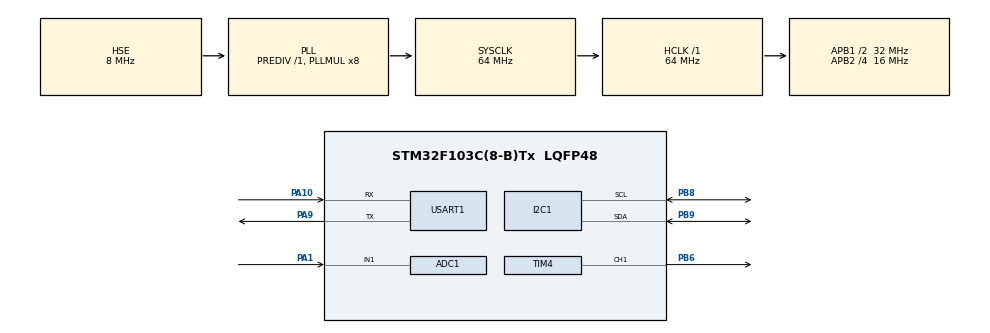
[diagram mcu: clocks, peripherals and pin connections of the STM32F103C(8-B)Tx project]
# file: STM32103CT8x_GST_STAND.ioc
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ADC1.Channel-1\#ChannelRegularConversion=ADC_CHANNEL_1
ADC1.ContinuousConvMode=ENABLE
ADC1.NbrOfConversionFlag=1
ADC1.Rank-1\#ChannelRegularConversion=1
ADC1.SamplingTime-1\#ChannelRegularConversion=ADC_SAMPLETIME_239CYCLES_5
ADC1.master=1
Dma.ADC1.0.Direction=DMA_PERIPH_TO_MEMORY
Dma.ADC1.0.Instance=DMA1_Channel1
Dma.ADC1.0.MemDataAlignment=DMA_MDATAALIGN_HALFWORD
Dma.ADC1.0.MemInc=DMA_MINC_ENABLE
Dma.ADC1.0.Mode=DMA_NORMAL
Dma.ADC1.0.PeriphDataAlignment=DMA_PDATAALIGN_HALFWORD
Dma.ADC1.0.PeriphInc=DMA_PINC_DISABLE
Dma.ADC1.0.Priority=DMA_PRIORITY_LOW
Dma.Request0=ADC1
Mcu.Family=STM32F1
Mcu.Name=STM32F103C(8-B)Tx
Mcu.Package=LQFP48
NVIC.DMA1_Channel1_IRQn=true\:0\:0\:false\:false\:true\:false\:true
NVIC.PriorityGroup=NVIC_PRIORITYGROUP_4
NVIC.TIM1_UP_IRQn=true\:0\:0\:false\:false\:true\:true\:true
NVIC.TIM4_IRQn=true\:0\:0\:false\:false\:true\:true\:true
NVIC.USART1_IRQn=true\:0\:0\:false\:false\:true\:true\:true
PA1.Signal=ADCx_IN1
PA10.Mode=Asynchronous
PA10.Signal=USART1_RX
PA13.Mode=Serial_Wire
PA13.Signal=SYS_JTMS-SWDIO
PA14.Mode=Serial_Wire
PA14.Signal=SYS_JTCK-SWCLK
PA9.Mode=Asynchronous
PA9.Signal=USART1_TX
PB6.Signal=S_TIM4_CH1
PB8.Mode=I2C
PB8.Signal=I2C1_SCL
PB9.Mode=I2C
PB9.Signal=I2C1_SDA
PD0-OSC_IN.Mode=HSE-External-Oscillator
PD0-OSC_IN.Signal=RCC_OSC_IN
PD1-OSC_OUT.Mode=HSE-External-Oscillator
PD1-OSC_OUT.Signal=RCC_OSC_OUT
ProjectManager.HeapSize=0x200
ProjectManager.StackSize=0x400
ProjectManager.TargetToolchain=TrueSTUDIO
RCC.AHBFreq_Value=64000000
RCC.APB1CLKDivider=RCC_HCLK_DIV2
RCC.APB1Freq_Value=32000000
RCC.APB1TimFreq_Value=64000000
RCC.APB2CLKDivider=RCC_HCLK_DIV4
RCC.APB2Freq_Value=16000000
RCC.APB2TimFreq_Value=32000000
RCC.HCLKFreq_Value=64000000
RCC.PLLMUL=RCC_PLL_MUL8
RCC.PLLSourceVirtual=RCC_PLLSOURCE_HSE
RCC.SYSCLKFreq_VALUE=64000000
RCC.SYSCLKSource=RCC_SYSCLKSOURCE_PLLCLK
RCC.USBFreq_Value=64000000
SH.ADCx_IN1.0=ADC1_IN1,IN1
SH.S_TIM4_CH1.0=TIM4_CH1,PWM Generation1 CH1
TIM1.Period=32000
TIM1.Prescaler=320
TIM4.Channel-PWM\ Generation1\ CH1=TIM_CHANNEL_1
TIM4.Period=20000
TIM4.Prescaler=64
TIM4.Pulse-PWM\ Generation1\ CH1=1000
USART1.VirtualMode=VM_ASYNC
VP_TIM1_VS_ClockSourceINT.Mode=Internal
VP_TIM4_VS_ClockSourceINT.Mode=Internal
board=custom

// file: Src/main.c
/* USER CODE BEGIN Header */
/**
  ******************************************************************************
  * @file           : main.c
  * @brief          : Main program body
  ******************************************************************************
  * @attention
  *
  * <h2><center>&copy; Copyright (c) 2020 STMicroelectronics.
  * All rights reserved.</center></h2>
  *
  * This software component is licensed by ST under BSD 3-Clause license,
  * the "License"; You may not use this file except in compliance with the
  * License. You may obtain a copy of the License at:
  *                        opensource.org/licenses/BSD-3-Clause
  *
  ******************************************************************************
  */
/* USER CODE END Header */

#include "main.h"
#include "adc.h"
#include "dma.h"
#include "i2c.h"
#include "tim.h"
#include "usart.h"
#include "gpio.h"

/* USER CODE BEGIN Includes */
#include "string.h"
#include "stdlib.h"
#include "math.h"
#include "gst_math.h"
#include "sd_hal_mpu6050.h"
#include "gst_pid.h"
#include "dwt_delay.h"
#include "USB_comunication.h"
/* USER CODE END Includes */

/* USER CODE BEGIN PD */
#define X_AXIS 1    /*! Axis x for spatial data */
#define Y_AXIS 2    /*! Axis y for spatial data */
#define Z_AXIS 3    /*! Axis z for spatial data */
/* USER CODE END PD */

/* USER CODE BEGIN PV */
/*! MPU6050 data structure */
SD_MPU6050 mpu1;
/*! MPU6050 communication result */
SD_MPU6050_Result result;
/*! MPU6050 temperature */
float mpu_temperature;
/*! Raw gyroscope data */
int16_t g_x, g_y, g_z;
/*! Raw accelerometer data */
int16_t a_x, a_y, a_z;
/*! potentiometer data */
uint16_t ADC1_DATA[1] = {0};
/*! linear regression coefficients*/
/*! deg = b*res+ a, RTD - resistance to degree*/
//y=b*x+a
float RTD_b=71.831;
float RTD_a=-109.200;

//float RTD_b=34.874;
//float RTD_a=34.131;
/*! linear regression coefficients*/
/*! CCRx_value = b*deg+ a, CCRxTD - CCRx to degree*/
/*! CCRx -  capture and compare register of PWM(TIM4)*/
float CCRxTD_a=1500;
float CCRxTD_b=ONE_DEG;

//float RTD_b=34.874;
//float RTD_a=34.131;

//float _DTR_b = 0.029;
//float _DTR_a =-0.097;
//
//float _RTD_b = 34.874;
//float _RTD_a = 34.131;

/*! angles from accelerometer*/
float angle_gyro_x, angle_gyro_y, angle_gyro_z = 0;
/*! gyro angles structure variable*/
ANG_GYROtypedef gyro_angles;
/*! complementary filter coefficient */
float CFK = 0.75;
/*! imu angle variable for saving imu angle data*/
/*! here is data from complementary filter*/
float a = 0;
/*! PID structure variable*/
PIDtypedef gst_pid;
/*! P coefficient of PID*/
float Kp = 0.86;
/*! I coefficient of PID*/
float Ki = 0.0;
/*! D coefficient of PID*/
float Kd = 0.0;
//float Ki = 0.10;
//float Kd = 0.95;

//float Kp = 1.68;
//float Ki = 0.04;
//float Kd = 0.03;
/*! Hold position in degrees for PID*/
float pid_hold = 0.0;

uint8_t uart_buffer[100]={0};   /*! buffer for uart data */
uint8_t uart_rx_counter = 0;    /*! counter for uart data */

/*! idn is string which is sent to uart at every program start*/
char* idn = "Camera gyrostabilization app.\r\nv3.0\r\nDate:13.05.2020\r\nAuthor:Kagirina K.A.";
/*! uart_string is served for saving commands from uart*/
char uart_string[100] ="";

/*! debug  data*/
uint32_t startTick;
uint32_t new_tick;
uint32_t tick, last_tick, dt;
//float temp[50], accx[50], accy[50]={0};
/* USER CODE END PV */

void SystemClock_Config(void);
/* USER CODE BEGIN PFP */
/**
 * @brief  Gets microseconds from DWT timer
 * @param  startTick: time at program start point
 * @retval time since startTick in microseconds
 */
int get_microseconds_since_begin(uint32_t startTick);
/**
 * @brief  Gets milliseconds from DWT timer
 * @param  startTick: time at program start point
 * @retval time since startTick in milliseconds
 */
int get_milliseconds_since_begin(uint32_t startTick);
/*SERVO*/
/**
 * @brief  Writes number in CCRx register
 * @param  CCRx_value: number to write
 */
void servo_set_CCRx_value(uint16_t CCRx_value);
/**
 * @brief  Turns servo on some degrees.
 * For this purpose calculates CCRx value
 * from number degree to turn. Calculations based
 * on fuction CCRx=a*deg+b
 * @param  degree: count degrees to turn
 * @retval if degree in range [SERVO_MIN_ANGLE, SERVO_MAX_ANGLE]
 * returns calculated CCRx value, else returns -1
 */
int servo_set_position(float degree);
/*test bench*/
/**
 * @brief  Calculates coefficients for degree in dependent from resistance.
 * Gets array of degrees, rotates servo on degrees from array
 * measures resistances at this degrees and saves their in array of resistances.
 * Then calculates coefficients from linear regression approximation algorithm.
 */
void potentiometer_calibration();
/**
 * @brief  Calculates coefficients for CRRx values in dependent from degrees.
 * Gets array of degrees, calculates CCRx array values from formula:
 * CCRs[i] = CCRx_ZERO_DEG+deg*ONE_DEG. (Naturally in this case, linear regression
 * coefficients equals CCRx_ZERO_DEG and ONE_DEG respectively)
 * Then calculates coefficients from linear regression approximation algorithm.
 */
void servo_calibration();
/**
 * @brief  Algorithm of servo position hold based on PID regulator
 * @param  *PID_struct: PID data structure
 * @retval returns out = P(err)+I(err)+D(err) in degrees
 */
float stabilize_by_pid(PIDtypedef *PID_struct);
/**
 * @brief  Sets servo angle based on potentiometer data
 * with defined accuracy
 * @param  angle: angle value to set
 * @param  accuracy: desired accuracy of setting
 * @retval returns set angle in degrees
 */
float set_angle(float angle, float accuracy);
/**
 * @brief  Calculates angle of bench based on imu data and
 * complementary filter: a = (1-k)*ag+k*ac, ag - angle from
 * gyro and ac - angle from acc in one axis
 * @param  axis: axis
 * @param  CFK: k from formula above
 * @param *g_struct: gyro angle structure
 * @retval calculated angle from formula above in degrees
 */
float complementary_filter(int axis, float* CFK,
		              ANG_GYROtypedef *g_struct);
/*Potentiometer*/
/**
 * @brief  Calculates resistance from ADC data
 * @retval resistance value in volts
 */
float get_resistance();

//void measure();
//float stabilize_v1(float hold_angle, float prev_angle, float precision,
//		                             uint32_t time_step, uint32_t timer);
//float average_ADC(int steps);
/*UART*/

/* USER CODE END PFP */

int main(void)
{

  /* MCU Configuration--------------------------------------------------------*/

  /* Reset of all peripherals, Initializes the Flash interface and the Systick. */
  HAL_Init();

  /* Configure the system clock */
  SystemClock_Config();

  /* Initialize all configured peripherals */
  MX_GPIO_Init();
  MX_DMA_Init();
  MX_I2C1_Init();
  MX_TIM4_Init();
  MX_USART1_UART_Init();
  MX_ADC1_Init();
  MX_TIM1_Init();
  /* USER CODE BEGIN 2 */
  /*! Start servo timer*/
  HAL_TIM_PWM_Start(&htim4,TIM_CHANNEL_1);
  /*! Init independent core timer for us time*/
  DWT_Init();

//  HAL_TIM_Base_Start(&htim1);
//  HAL_TIM_Base_Start_IT(&htim1);
  /*! Enable uart interrupt related to recieve data*/
  __HAL_UART_ENABLE_IT(&huart1, UART_IT_RXNE);
  /*! Start measuring potentiometer data*/
  HAL_ADC_Start_DMA(&hadc1, (uint32_t*)&ADC1_DATA, 1);
//  potentiometer_calibration();
//  servo_calibration();
  /*! Transmit identification string*/
  UART_Transmit_string(&huart1, idn, 10);
  /*! Set appropriate servo position*/
  servo_set_position(pid_hold);
  /*! Connect and set IMU module*/
  result = SD_MPU6050_Init(&hi2c1,&mpu1,SD_MPU6050_Device_0,
		   SD_MPU6050_Accelerometer_2G, SD_MPU6050_Gyroscope_250s);
  /*! Set gyro datarate*/
  result = SD_MPU6050_SetDataRate(&hi2c1,&mpu1,
		                          SD_MPU6050_DataRate_8KHz);
  /*! Wait after IMU set*/
  HAL_Delay(500);

  /*! Initialization of gyro angles data structure*/
  gyro_angles=*GYRO_struct_init(&gyro_angles);
  a =pid_hold;
// last_tick=0;
//startTick = DWT->CYCCNT;
  /*! Initialization of PID data structure*/
  gst_pid = *PID_init(&gst_pid, &Kp, &Ki, &Kd, &pid_hold);

  /* USER CODE END 2 */

  /* Infinite loop */
  while (1)
  {

    /* USER CODE BEGIN 3 */

	//  HAL_Delay(1);

//	  if(strcmp(uart_string, "gyro:z\r") == 0)
//	  {
//
//		  a = angle_from_gyro(Z_AXIS, &gyro_angles);
//		  tick=get_milliseconds_since_begin(gyro_angles.start_tick);
//		  if(tick%500 != 0)
//		  {
//			  continue;
//		  }
//		  UART_Transmit_string(&huart1, "gz:\t", 10);
//		  UART_send_float(&huart1, a, 10);
//	  }
//
//	  if(strcmp(uart_string, "stop_posting:\r") == 0)
//	  {
//		  strcpy(uart_string, "");
//	  }
	  /*! Start potentiometer calibration*/
	  if(strcmp(uart_string, "calibr:start\r") == 0)
	  {
		  potentiometer_calibration();
		  strcpy(uart_string, "");
	  }

//	  if(strcmp(uart_string, "calibr:send_ab\r") == 0)
//	  {
//		  UART_Transmit_string_CR_LF(&huart1, "resistance to degree a and b:", 10);
//		  UART_send_float(&huart1,RTD_a,10);
//		  UART_send_float(&huart1,RTD_b,10);
//		  strcpy(uart_string, "");
//
//	  }

	  /*! Hold camera position*/
	  if(strcmp(uart_string, "tracking:start\r") == 0)
	  {
//		  tick=get_microseconds_since_begin(startTick);
		  a = stabilize_by_pid(&gst_pid);
		  UART_send_float(&huart1, a, 10);
	  }
	  /*! Stop hold camera position*/
	  if(strcmp(uart_string, "tracking:stop\r") == 0)
	  {
		  strcpy(uart_string, "");
	  }

	  /*! Check if command recieved*/
	  if(uart_buffer[uart_rx_counter-1] == '\r')
	  {

		  strcpy(uart_string, uart_buffer);
		  uart_rx_counter=0;
		  clear_uart_buffer(100, uart_buffer);
		  HAL_Delay(1);
	  }

  }
  /* USER CODE END 3 */
}

void SystemClock_Config(void)
{
  RCC_OscInitTypeDef RCC_OscInitStruct = {0};
  RCC_ClkInitTypeDef RCC_ClkInitStruct = {0};
  RCC_PeriphCLKInitTypeDef PeriphClkInit = {0};

  /** Initializes the CPU, AHB and APB busses clocks
  */
  RCC_OscInitStruct.OscillatorType = RCC_OSCILLATORTYPE_HSE;
  RCC_OscInitStruct.HSEState = RCC_HSE_ON;
  RCC_OscInitStruct.HSEPredivValue = RCC_HSE_PREDIV_DIV1;
  RCC_OscInitStruct.HSIState = RCC_HSI_ON;
  RCC_OscInitStruct.PLL.PLLState = RCC_PLL_ON;
  RCC_OscInitStruct.PLL.PLLSource = RCC_PLLSOURCE_HSE;
  RCC_OscInitStruct.PLL.PLLMUL = RCC_PLL_MUL8;
  if (HAL_RCC_OscConfig(&RCC_OscInitStruct) != HAL_OK)
  {
    Error_Handler();
  }
  /** Initializes the CPU, AHB and APB busses clocks
  */
  RCC_ClkInitStruct.ClockType = RCC_CLOCKTYPE_HCLK|RCC_CLOCKTYPE_SYSCLK
                              |RCC_CLOCKTYPE_PCLK1|RCC_CLOCKTYPE_PCLK2;
  RCC_ClkInitStruct.SYSCLKSource = RCC_SYSCLKSOURCE_PLLCLK;
  RCC_ClkInitStruct.AHBCLKDivider = RCC_SYSCLK_DIV1;
  RCC_ClkInitStruct.APB1CLKDivider = RCC_HCLK_DIV2;
  RCC_ClkInitStruct.APB2CLKDivider = RCC_HCLK_DIV4;

  if (HAL_RCC_ClockConfig(&RCC_ClkInitStruct, FLASH_LATENCY_2) != HAL_OK)
  {
    Error_Handler();
  }
  PeriphClkInit.PeriphClockSelection = RCC_PERIPHCLK_ADC;
  PeriphClkInit.AdcClockSelection = RCC_ADCPCLK2_DIV2;
  if (HAL_RCCEx_PeriphCLKConfig(&PeriphClkInit) != HAL_OK)
  {
    Error_Handler();
  }
}

/* USER CODE BEGIN 4 */

void servo_set_CCRx_value(uint16_t CCRx_value)
{
	__HAL_TIM_SET_COMPARE(&htim4, TIM_CHANNEL_1,CCRx_value);
	HAL_Delay(25);
}

int servo_set_position(volatile float degree)
{
	if((degree>= SERVO_MIN_ANGLE) && (degree <= SERVO_MAX_ANGLE))
	{
		volatile uint16_t y = 0;
		y = (uint16_t)(CCRxTD_b*degree+CCRxTD_a);
		servo_set_CCRx_value(y);
//        HAL_Delay(50);
		return y;
	}
	else
	{
		return -1;
	}

}

void potentiometer_calibration()
{
	int len=ANGLE_RANGE*2;
	float ress[len];
	float degs[len];
	float degree = SERVO_MIN_ANGLE;

//	volatile float a,b, x_averaged, y_averaged, xy_averaged, Sx = 0;

    for(int d = 0; d<len; d++)
    {
    	degs[d]=degree;
  	    degree = degree + 0.5;
    }

	for(int d = 0; d < len; d++)
	{
		int err = servo_set_position(degs[d]);
		if(err != -1)
		{
			  HAL_ADC_Start_DMA(&hadc1, (uint32_t*)&ADC1_DATA, 1);
			  ress[d]= (ADC1_DATA[0]*ADC1_K);

			  HAL_Delay(1);
		 }
         HAL_Delay(1);
	}

	linear_regression(len, ress, degs, &RTD_a, &RTD_b);
    HAL_Delay(10);
}

float get_resistance()
{
	HAL_ADC_Start_DMA(&hadc1, (uint32_t*)&ADC1_DATA, 1);
	volatile float res = ADC1_DATA[0]*ADC1_K;

	HAL_Delay(15);
	return res;
}

float get_actual_angle()
{

	volatile float current_resistance = get_resistance();
	volatile float current_angle = current_resistance*RTD_b + RTD_a;
	return current_angle;
}

float set_angle(float angle, float accuracy)
{

	volatile int direction = 1;
	volatile float step = 0.0;
	int i = 0;

	volatile float current_angle = get_actual_angle();
	volatile float delta = _fabs(angle - current_angle);
	volatile float position = current_angle + step;

	if(servo_set_position(angle) < 0)
	{
		return -2;
	}

	if(delta <= accuracy)
	{
		return current_angle;
	}

	while(1)
	{

		delta = _fabs(angle - current_angle);
		i++;
        direction = get_sign(angle - current_angle);

		if(delta >5)
		{
			step = 5*direction;
			current_angle = _WMA_angle(10);
		}

		if(delta<=5 && delta>accuracy)
		{

			step = 0.5*delta*direction;
			if((i%5)==0)
			{
				current_angle = _WMA_angle(100);
			}

			else
			{
				current_angle = current_angle+step;
			}
		}

		if(delta <= accuracy)
		{
			break;
		}
		position = current_angle + step;
		servo_set_position(position);

	}

	return current_angle;
}

float IMU_get_acc(int axis)
{
	  volatile float result = 0.0;
	  SD_MPU6050_ReadAccelerometer(&hi2c1,&mpu1);
 //     HAL_Delay(10);

	  if(axis == X_AXIS)
	  {
		  result=(float)mpu1.Accelerometer_X/MPU_AK;
	  }
	  if(axis == Y_AXIS)
	  {
		  result=(float)mpu1.Accelerometer_Y/MPU_AK;
	  }
	  if(axis == Z_AXIS)
	  {
		  result=(float)mpu1.Accelerometer_Z/MPU_AK;
	  }
	  return result;

}

float IMU_get_gyro(int axis)
{

	  SD_MPU6050_ReadGyroscope(&hi2c1,&mpu1);
	  volatile float result = 0.0;
	  if(axis == X_AXIS)
	  {
		  result = (float)mpu1.Gyroscope_X/MPU_GK;
	  }
	  if(axis == Y_AXIS)
	  {
		  result =(float)mpu1.Gyroscope_Y/MPU_GK;
	  }
	  if(axis == Z_AXIS)
	  {
		  result = (float)mpu1.Gyroscope_Z/MPU_GK;
	  }
	  return result;

}

float IMU_get_temp()
{
	  SD_MPU6050_ReadTemperature(&hi2c1,&mpu1);
	  return mpu1.Temperature;
}

float angle_from_acc(int axis)
{
	volatile float accx,accy,accz;
	volatile float angle;

	accx = IMU_get_acc(X_AXIS);
	accy = IMU_get_acc(Y_AXIS);
	accz = IMU_get_acc(Z_AXIS);

		if (axis==X_AXIS)
		{
//			angle = sqrtf(accy*accy + accz*accz);
//			angle = accx/angle;
//			angle = RAD_TO_DEG*atanf(angle);
			angle = RAD_TO_DEG*atanf(accx/hypotf(accy, accz));
		}

		if (axis==Y_AXIS)
		{
//			angle = sqrtf(accx*accx + accz*accz);
//			angle = accy/angle;
//			angle = RAD_TO_DEG*atanf(angle);
			angle = RAD_TO_DEG*atanf(accy/hypotf(accx, accz));
		}

		if (axis==Z_AXIS)
		{
//			angle = sqrtf(accy*accy + accx*accx);
//			angle = angle/accz;
//			angle = RAD_TO_DEG*atanf(angle);
			angle = RAD_TO_DEG*atanf(accz/hypotf(accx, accy));
		}

	HAL_Delay(10);
	return angle;
}

float angle_from_gyro(int axis, ANG_GYROtypedef* g_struct)
{

	g_struct->time=get_microseconds_since_begin(g_struct->start_tick);
	volatile float dt = (float)((g_struct->time - g_struct->last_time)*1e-6);

	dt= fabs(dt);
	g_struct->last_time=get_microseconds_since_begin(g_struct->start_tick);

	if(axis == X_AXIS)
	{
		g_struct->ax=g_struct->ax+IMU_get_gyro(axis)*dt;
		return g_struct->ax;
	}

	else if(axis == Y_AXIS)
	{
		g_struct->ay=g_struct->ay+IMU_get_gyro(axis)*dt;
		return g_struct->ay;
	}

	else if(axis == Z_AXIS)
	{
		g_struct->az=g_struct->az+IMU_get_gyro(axis)*dt;
		return g_struct->az;
	}

}

float complementary_filter(int axis, float* CFK,
		              ANG_GYROtypedef* g_struct)
{

	volatile float k = *CFK;
	volatile float angle_acc, angle_gyro = 0;
    volatile float angle = 0;

	angle_acc = angle_from_acc(axis);
	angle_gyro = angle_from_gyro(axis, g_struct);

    angle= angle_gyro*(1-k)+angle_acc*k;
	return angle;
}

//float stabilize_v1(float hold_angle, float prev_angle, float precision,
//		                             uint32_t time_step, uint32_t timer)
//{
//	  volatile float da;
//	  volatile float imu_angle;
//	  if((timer%time_step)!=0)
//	  {
//		  return prev_angle;
//	  }
//	  imu_angle = complementary_filter( Z_AXIS, &CFK, &gyro_angles);
//
//	  if(imu_angle < IMU_MAX_ANGLE)
//	  {
//		  imu_angle = IMU_MAX_ANGLE;
//	  }
//
//	  if(imu_angle > IMU_MIN_ANGLE)
//	  {
//		  imu_angle = IMU_MIN_ANGLE;
//	  }
//
//	  imu_angle = imu_angle*ITS_B + ITS_A;
//	  da = fabs(prev_angle - imu_angle);
//	  if(da < precision)
//	  {
//		  return imu_angle;
//	  }
//
//	  servo_set_position(imu_angle);
//      return _WMA_angle(10);
////	  return set_angle(imu_angle, precision);
//}

//float stabilize_by_pid(PIDtypedef *PID_struct,
//		               uint32_t time_step, uint32_t timer)
float stabilize_by_pid(PIDtypedef *PID_struct)
{
	  volatile float pid_error;
	  volatile float imu_angle;
	  volatile float set;
//
//	  if((timer%time_step)!=0)
//	  {
//		  return PID_struct->out;
//	  }
	  imu_angle = complementary_filter(Z_AXIS, &CFK, &gyro_angles);

	  if(imu_angle > IMU_MAX_ANGLE)
	  {
		  imu_angle = IMU_MAX_ANGLE;
	  }

	  if(imu_angle < IMU_MIN_ANGLE)
	  {
		  imu_angle = IMU_MIN_ANGLE;
	  }

	  imu_angle = imu_angle*ITS_B + ITS_A;
//	  pid_error = fabs(PID_struct->hold - imu_angle);
	  pid_error = PID_struct->hold - imu_angle;
	  PID(PID_struct, pid_error);

	  set = PID_struct->out;
//	  set = PID_struct->out;
	  servo_set_position(set);
	  return set;
	  //return _WMA_angle(50);
	  //return get_actual_angle();
}

void servo_calibration()
{
	  int MAX = 90;
	  int MIN = -90;
	  volatile float deg = (float)MIN;
	  volatile float step = 0.5;
	  uint16_t len = (MAX-MIN)/step;
	  float degs[len];
	  float CCRs[len];

	  for(uint16_t i = 0; i < len; i++)
	  {
		  degs[i]=deg;
//		  CCRs[i] = servo_set_position(deg);
		  CCRs[i] = CCRx_ZERO_DEG+deg*ONE_DEG;
		  deg = deg+step;
		  HAL_Delay(1);
	  }
	  linear_regression(len, degs, CCRs, &CCRxTD_a, &CCRxTD_b);
	  HAL_Delay(10);
}

void servo_calibration_evaluate()
{

    int i = 0;
    int len = (SERVO_MAX_ANGLE-SERVO_MIN_ANGLE)/0.5;
    float arr[len];
    servo_calibration();
	for(float a = SERVO_MIN_ANGLE; a <=SERVO_MAX_ANGLE; a = a+0.5)
	{
		arr[i] =servo_set_position(a);
		i++;
	}
}

int get_microseconds_since_begin(uint32_t startTick)
{
	  //new_tick = DWT->CYCCNT;
	  int tick= (int)DWT->CYCCNT - startTick;
	  int divider=(int)(SystemCoreClock/1e6);
	  tick=tick/divider;
	  return tick;
}

int get_milliseconds_since_begin(uint32_t startTick)
{
	  //new_tick = DWT->CYCCNT;
	  int tick= (int)DWT->CYCCNT - startTick;
	  int clock=(int)(SystemCoreClock/1e3);
	  tick=tick/clock;
	  return tick;
}

ANG_GYROtypedef* GYRO_struct_init(ANG_GYROtypedef* gyro_data)
{

	gyro_data->time = 0;
	gyro_data->last_time = 0;
	gyro_data->start_tick=DWT->CYCCNT;
//	gyro_data->us_dt=delay_us;
	gyro_data->ax = angle_from_acc(X_AXIS);
	gyro_data->ay = angle_from_acc(Y_AXIS);
	gyro_data->az = angle_from_acc(Z_AXIS);
	return gyro_data;
}
/* USER CODE END 4 */

void Error_Handler(void)
{
}

/************************ (C) COPYRIGHT STMicroelectronics *****END OF FILE****/
